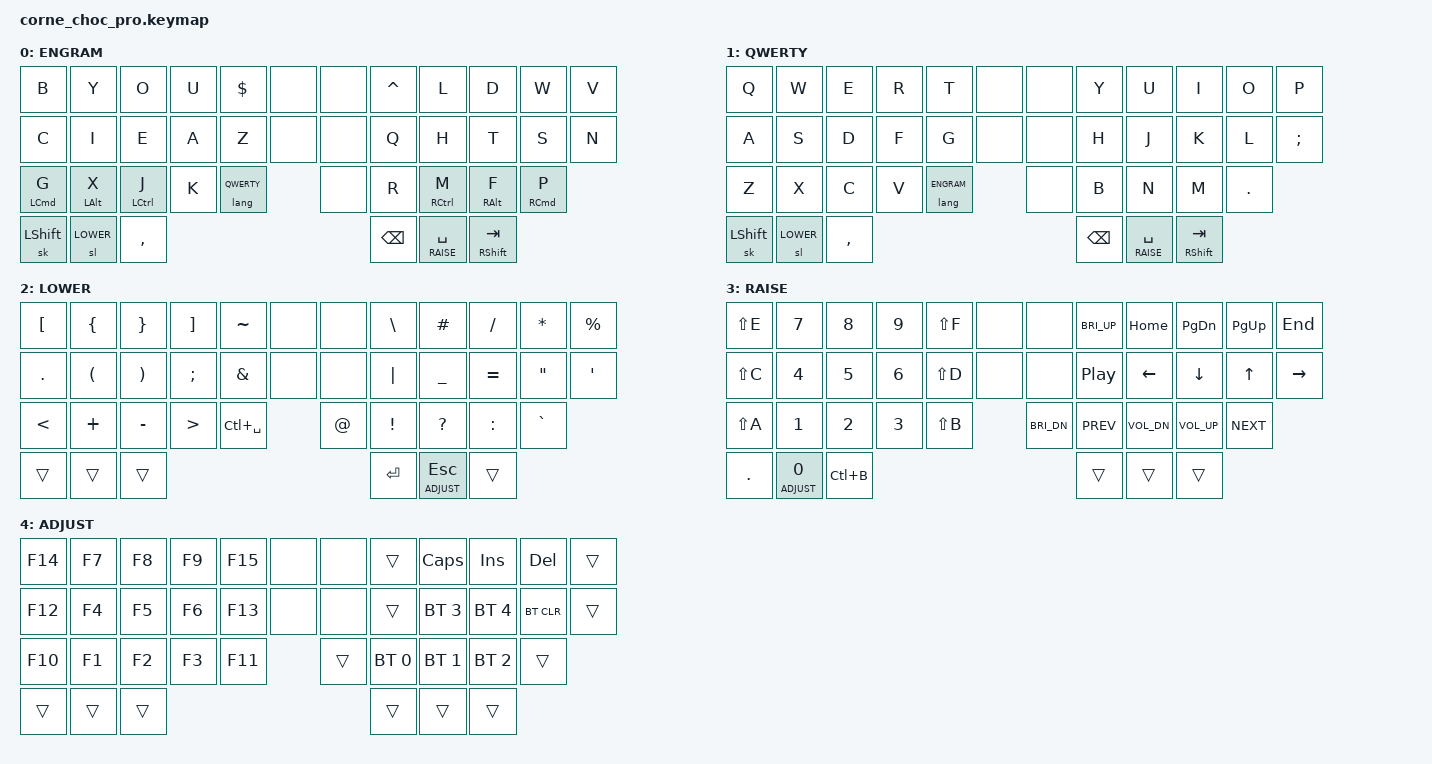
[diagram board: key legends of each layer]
/*
 * Copyright (c) 2020 The ZMK Contributors
 *
 * SPDX-License-Identifier: MIT
 */

#include <behaviors.dtsi>
#include <dt-bindings/zmk/keys.h>
#include <dt-bindings/zmk/bt.h>

#define ENGRAM 0
#define QWERTY 1
#define LOWER  2
#define RAISE  3
#define ADJUST 4

/ {
   chosen {
      zmk,physical-layout = &five_col_layout;
   };
};

&sl {
    release-after-ms = <500>;
};

&sk {
    release-after-ms = <500>;
};

/ {
   macros {
lang: lang {
         compatible = "zmk,behavior-macro-one-param";
         wait-ms = <0>;
         tap-ms = <0>;
#binding-cells = <1>;
         bindings =
            <&macro_tap &kp LC(SPACE)>
            , <&macro_param_1to1>
            , <&macro_tap &to MACRO_PLACEHOLDER>;
      };
   };
   keymap {
      compatible = "zmk,keymap";

      engram_layer {
         display-name = "ENGRAM";
         bindings = <
            &kp B &kp Y &kp O &kp U &kp DLLR &none   &none &kp CARET &kp L &kp D &kp W &kp V
            &kp C &kp I &kp E &kp A &kp Z &none   &none &kp Q &kp H &kp T &kp S &kp N
            &mt LCMD G &mt LALT X &mt LCTRL J &kp K &lang QWERTY   &none &kp R &mt RCTRL M &mt RALT F &mt RCMD P
            &sk LSHFT &sl LOWER &kp COMMA   &kp BSPC &lt RAISE SPACE &mt RSHFT TAB
            >;
      };
      qwerty_layer {
         display-name = "QWERTY";
         bindings = <
            &kp Q &kp W &kp E &kp R &kp T &none   &none &kp Y &kp U &kp I &kp O &kp P
            &kp A &kp S &kp D &kp F &kp G &none   &none &kp H &kp J &kp K &kp L &kp SEMI
            &kp Z &kp X &kp C &kp V &lang ENGRAM   &none &kp B &kp N &kp M &kp DOT
            &sk LSHFT &sl LOWER &kp COMMA   &kp BSPC &lt RAISE SPACE &mt RSHFT TAB
            >;
      };
      lower_layer {
         display-name = "LOWER";
         bindings = <
            &kp LBKT &kp LBRC &kp RBRC &kp RBKT &kp TILDE &none   &none &kp BSLH &kp HASH &kp FSLH  &kp ASTRK &kp PRCNT
            &kp DOT &kp LPAR &kp RPAR &kp SEMI &kp AMPS &none   &none &kp PIPE &kp UNDER &kp EQUAL &kp DQT &kp SQT
            &kp LT &kp PLUS &kp MINUS &kp GT &kp LC(SPACE)   &kp AT &kp EXCL &kp QMARK &kp COLON &kp GRAVE
            &trans &trans &trans   &kp RET &lt ADJUST ESC &trans
            >;
      };
      raise_layer {
         display-name = "RAISE";
         bindings = <
            &kp LS(E) &kp N7 &kp N8 &kp N9 &kp LS(F) &none   &none &kp C_BRI_UP &kp HOME &kp PG_DN &kp PG_UP &kp END
            &kp LS(C) &kp N4 &kp N5 &kp N6 &kp LS(D) &none   &none &kp C_PP &kp LEFT &kp DOWN &kp UP &kp RIGHT
            &kp LS(A) &kp N1 &kp N2 &kp N3 &kp LS(B)   &kp C_BRI_DN &kp C_PREV &kp C_VOL_DN &kp C_VOL_UP &kp C_NEXT
            &kp DOT &lt ADJUST N0 &kp LC(B)   &trans &trans &trans
            >;
      };
      adjust_layer {
         display-name = "ADJUST";
         bindings = <
            &kp F14 &kp F7 &kp F8 &kp F9 &kp F15 &none   &none &trans &kp CAPS &kp INS &kp DEL &trans
            &kp F12 &kp F4 &kp F5 &kp F6 &kp F13 &none   &none &trans &bt BT_SEL 3 &bt BT_SEL 4 &bt BT_CLR &trans
            &kp F10 &kp F1 &kp F2 &kp F3 &kp F11   &trans &bt BT_SEL 0 &bt BT_SEL 1 &bt BT_SEL 2 &trans
            &trans &trans &trans   &trans &trans &trans
            >;
      };
   };
};
